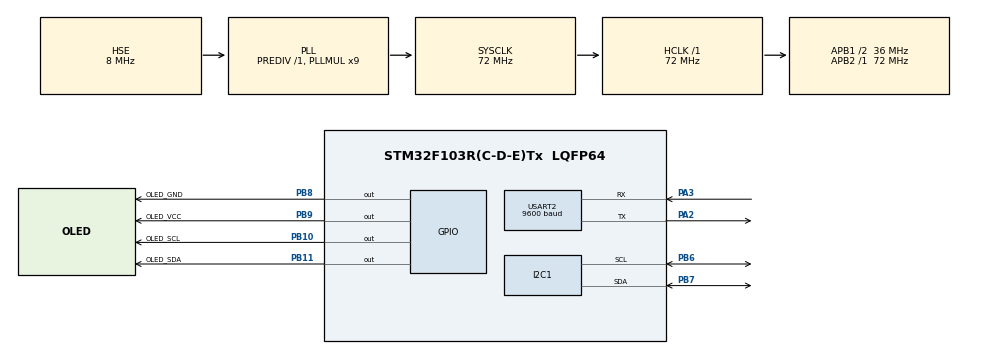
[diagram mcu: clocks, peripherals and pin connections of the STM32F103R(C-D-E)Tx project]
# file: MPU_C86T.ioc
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Mcu.Family=STM32F1
Mcu.Name=STM32F103R(C-D-E)Tx
Mcu.Package=LQFP64
NVIC.PriorityGroup=NVIC_PRIORITYGROUP_4
NVIC.TIM3_IRQn=true\:15\:0\:false\:false\:true\:false\:true\:true
NVIC.TimeBase=TIM3_IRQn
NVIC.TimeBaseIP=TIM3
PA13.Mode=Serial_Wire
PA13.Signal=SYS_JTMS-SWDIO
PA14.Mode=Serial_Wire
PA14.Signal=SYS_JTCK-SWCLK
PA2.Mode=Asynchronous
PA2.Signal=USART2_TX
PA3.Mode=Asynchronous
PA3.Signal=USART2_RX
PB10.GPIO_Label=OLED_SCL
PB10.GPIO_ModeDefaultOutputPP=GPIO_MODE_OUTPUT_OD
PB10.GPIO_PuPd=GPIO_NOPULL
PB10.PinState=GPIO_PIN_SET
PB10.Signal=GPIO_Output
PB11.GPIO_Label=OLED_SDA
PB11.GPIO_ModeDefaultOutputPP=GPIO_MODE_OUTPUT_OD
PB11.GPIO_PuPd=GPIO_NOPULL
PB11.PinState=GPIO_PIN_SET
PB11.Signal=GPIO_Output
PB6.Mode=I2C
PB6.Signal=I2C1_SCL
PB7.Mode=I2C
PB7.Signal=I2C1_SDA
PB8.GPIO_Label=OLED_GND
PB8.PinState=GPIO_PIN_RESET
PB8.Signal=GPIO_Output
PB9.GPIO_Label=OLED_VCC
PB9.PinState=GPIO_PIN_SET
PB9.Signal=GPIO_Output
PC14-OSC32_IN.Mode=LSE-External-Oscillator
PC14-OSC32_IN.Signal=RCC_OSC32_IN
PC15-OSC32_OUT.Mode=LSE-External-Oscillator
PC15-OSC32_OUT.Signal=RCC_OSC32_OUT
PD0-OSC_IN.Mode=HSE-External-Oscillator
PD0-OSC_IN.Signal=RCC_OSC_IN
PD1-OSC_OUT.Mode=HSE-External-Oscillator
PD1-OSC_OUT.Signal=RCC_OSC_OUT
ProjectManager.HeapSize=0x200
ProjectManager.StackSize=0x400
ProjectManager.TargetToolchain=MDK-ARM V5
RCC.AHBFreq_Value=72000000
RCC.APB1CLKDivider=RCC_HCLK_DIV2
RCC.APB1Freq_Value=36000000
RCC.APB1TimFreq_Value=72000000
RCC.APB2Freq_Value=72000000
RCC.APB2TimFreq_Value=72000000
RCC.HCLKFreq_Value=72000000
RCC.PLLMUL=RCC_PLL_MUL9
RCC.PLLSourceVirtual=RCC_PLLSOURCE_HSE
RCC.SYSCLKFreq_VALUE=72000000
RCC.SYSCLKSource=RCC_SYSCLKSOURCE_PLLCLK
RCC.USBFreq_Value=72000000
USART2.BaudRate=9600
USART2.VirtualMode=VM_ASYNC
VP_SYS_VS_tim3.Mode=TIM3
board=custom

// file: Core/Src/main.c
/* USER CODE BEGIN Header */
/**
  ******************************************************************************
  * @file           : main.c
  * @brief          : Main program body
  ******************************************************************************
  * @attention
  *
  * Copyright (c) 2026 STMicroelectronics.
  * All rights reserved.
  *
  * This software is licensed under terms that can be found in the LICENSE file
  * in the root directory of this software component.
  * If no LICENSE file comes with this software, it is provided AS-IS.
  *
  ******************************************************************************
  */
/* USER CODE END Header */
#include "main.h"
#include "i2c.h"
#include "usart.h"
#include "gpio.h"

/* USER CODE BEGIN Includes */
#include "OLED.h"
#include "IIC_Hardware.h"
#include <stdio.h>
#include <math.h>
/* USER CODE END Includes */

void SystemClock_Config(void);
/* USER CODE BEGIN PFP */
uint32_t a=1,b=5;
char ch_library[4][16] __attribute__((aligned(32))) = {0};//
int fputc(int ch, FILE *f){
  uint8_t temp[1] = {ch};
  HAL_UART_Transmit(&huart2, temp, 1, 0);
	if(ch=='\n'){
		if(a!=1){
			a=15;
		}else{
			a=0;
		}
	}else{
		ch_library[(b-1)%4][a-1]=ch;
		OLED_ShowChar(4,a,(char)ch);
	}
	if(a<15){
		a++;
	}else{
		OLED_Clear();
		b++;
		for(a=0;a<=15;a++){
			ch_library[(b-1)%4][a]=0;
		}
		a=1;
	}
	if(a==1){
		OLED_ShowString(1,1,ch_library[(b)%4]);
		OLED_ShowString(2,1,ch_library[(b+1)%4]);
		OLED_ShowString(3,1,ch_library[(b+2)%4]);
	}
		HAL_Delay(10);
    return ch;
}
/* USER CODE END PFP */
  typedef union{
    struct
    {
      uint8_t Lbyte;
      uint8_t Hbyte;
    }unite;
    int16_t total;
  }Halfworld;

/* USER CODE BEGIN 0 */
  uint8_t ab=0;
/* USER CODE END 0 */

int main(void)
{

  /* USER CODE BEGIN 1 */
  Halfworld X;
  Halfworld Y;
  Halfworld Z;
  float X_g ;
  float Y_g ;
  float Z_g ;
  /* USER CODE END 1 */

  /* MCU Configuration--------------------------------------------------------*/

  /* Reset of all peripherals, Initializes the Flash interface and the Systick. */
  HAL_Init();

  /* Configure the system clock */
  SystemClock_Config();

  /* Initialize all configured peripherals */
  MX_GPIO_Init();
  MX_USART2_UART_Init();
  MX_I2C1_Init();
  /* USER CODE BEGIN 2 */
	OLED_Init();
  //uint8_t a;

  //HAL_I2C_Master_Receive(&hi2c1,0xD075,&ab,1,10);
	printf("SI MA SHU DIAN %d\n",ab);
  /* USER CODE END 2 */
  IIC1_Init();
  /* Infinite loop */
  /* USER CODE BEGIN WHILE */
  sqrt(X.total*X.total+Y.total*Y.total+Z.total*Z.total);
  while (1)
  {
    X.unite.Hbyte=IIC1_ReadByte(MPU_6050_DEVICES_ADDRESS,MPU_6050_ACCEL_XOUT_H);
    X.unite.Lbyte=IIC1_ReadByte(MPU_6050_DEVICES_ADDRESS,MPU_6050_ACCEL_XOUT_L);
    Y.unite.Hbyte=IIC1_ReadByte(MPU_6050_DEVICES_ADDRESS,MPU_6050_ACCEL_YOUT_H);
    Y.unite.Lbyte=IIC1_ReadByte(MPU_6050_DEVICES_ADDRESS,MPU_6050_ACCEL_YOUT_L);
    Z.unite.Hbyte=IIC1_ReadByte(MPU_6050_DEVICES_ADDRESS,MPU_6050_ACCEL_ZOUT_H);
    Z.unite.Lbyte=IIC1_ReadByte(MPU_6050_DEVICES_ADDRESS,MPU_6050_ACCEL_ZOUT_L);
    X_g= X.total / 16384.0f;
    Y_g= Y.total / 16384.0f;
    Z_g= Z.total / 16384.0f;
    printf("all a:%f \n",sqrt(X_g*X_g+Y_g*Y_g+Z_g*Z_g));
    /* USER CODE END WHILE */

  }
}

void SystemClock_Config(void)
{
  RCC_OscInitTypeDef RCC_OscInitStruct = {0};
  RCC_ClkInitTypeDef RCC_ClkInitStruct = {0};

  /** Initializes the RCC Oscillators according to the specified parameters
  * in the RCC_OscInitTypeDef structure.
  */
  RCC_OscInitStruct.OscillatorType = RCC_OSCILLATORTYPE_HSE;
  RCC_OscInitStruct.HSEState = RCC_HSE_ON;
  RCC_OscInitStruct.HSEPredivValue = RCC_HSE_PREDIV_DIV1;
  RCC_OscInitStruct.HSIState = RCC_HSI_ON;
  RCC_OscInitStruct.PLL.PLLState = RCC_PLL_ON;
  RCC_OscInitStruct.PLL.PLLSource = RCC_PLLSOURCE_HSE;
  RCC_OscInitStruct.PLL.PLLMUL = RCC_PLL_MUL9;
  if (HAL_RCC_OscConfig(&RCC_OscInitStruct) != HAL_OK)
  {
    Error_Handler();
  }

  /** Initializes the CPU, AHB and APB buses clocks
  */
  RCC_ClkInitStruct.ClockType = RCC_CLOCKTYPE_HCLK|RCC_CLOCKTYPE_SYSCLK
                              |RCC_CLOCKTYPE_PCLK1|RCC_CLOCKTYPE_PCLK2;
  RCC_ClkInitStruct.SYSCLKSource = RCC_SYSCLKSOURCE_PLLCLK;
  RCC_ClkInitStruct.AHBCLKDivider = RCC_SYSCLK_DIV1;
  RCC_ClkInitStruct.APB1CLKDivider = RCC_HCLK_DIV2;
  RCC_ClkInitStruct.APB2CLKDivider = RCC_HCLK_DIV1;

  if (HAL_RCC_ClockConfig(&RCC_ClkInitStruct, FLASH_LATENCY_2) != HAL_OK)
  {
    Error_Handler();
  }
}

void HAL_TIM_PeriodElapsedCallback(TIM_HandleTypeDef *htim)
{
  if (htim->Instance == TIM3)
  {
    HAL_IncTick();
  }
}

void Error_Handler(void)
{
  /* USER CODE BEGIN Error_Handler_Debug */
  /* User can add his own implementation to report the HAL error return state */
  __disable_irq();
  printf("[Debug]:Error");
  while (1)
  {
  }
  /* USER CODE END Error_Handler_Debug */
}
